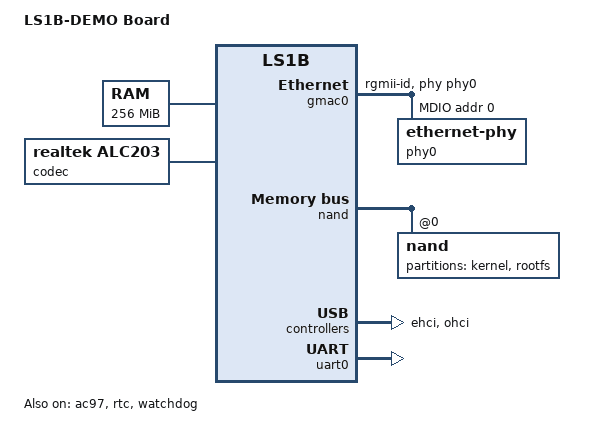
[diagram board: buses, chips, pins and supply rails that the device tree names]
// SPDX-License-Identifier: GPL-2.0
/*
 * Copyright (c) 2023-2025 Keguang Zhang <keguang.zhang@gmail.com>
 */

/dts-v1/;

#include <dt-bindings/gpio/gpio.h>

#include "loongson1b.dtsi"

/ {
	compatible = "loongson,ls1b-demo", "loongson,ls1b";
	model = "LS1B-DEMO Board";

	memory@0 {
		device_type = "memory";
		reg = <0x0 0x10000000>;
	};

	aliases {
		ethernet0 = &gmac0;
		ethernet1 = &gmac1;
		gpio0 = &gpio0;
		gpio1 = &gpio1;
		serial0 = &uart0;
	};

	chosen {
		stdout-path = "serial0:38400n8";
	};

	codec: audio-codec {
		compatible = "realtek,alc203";
		#sound-dai-cells = <0>;
	};

	sound {
		compatible = "simple-audio-card";
		simple-audio-card,name = "ls1b-alc203";
		simple-audio-card,format = "ac97";
		simple-audio-card,widgets =
			"Speaker", "Line Out Jack",
			"Headphone", "Headphone Jack",
			"Microphone", "Microphone Jack";
		simple-audio-card,routing =
			"Line Out Jack", "TX",
			"Headphone Jack", "TX",
			"RX", "Microphone Jack";

		simple-audio-card,cpu {
			sound-dai = <&ac97>;
		};

		simple-audio-card,codec {
			sound-dai = <&codec>;
		};
	};
};

&xtal {
	clock-frequency = <33000000>;
};

&gmac0 {
	phy-handle = <&phy0>;
	phy-mode = "rgmii-id";
	status = "okay";

	mdio {
		compatible = "snps,dwmac-mdio";
		#address-cells = <1>;
		#size-cells = <0>;

		phy0: ethernet-phy@0 {
			reg = <0x0>;
		};
	};
};

&nand {
	status = "okay";

	nand@0 {
		partitions {
			compatible = "fixed-partitions";
			#address-cells = <1>;
			#size-cells = <1>;

			partition@0 {
				label = "kernel";
				reg = <0x0 0x1000000>;
			};

			partition@1000000 {
				label = "rootfs";
				reg = <0x1000000 0x7000000>;
			};
		};
	};
};

&ac97 {
	status = "okay";
};

&ehci {
	status = "okay";
};

&ohci {
	status = "okay";
};

&rtc {
	status = "okay";
};

&uart0 {
	status = "okay";
};

&watchdog {
	status = "okay";
};
